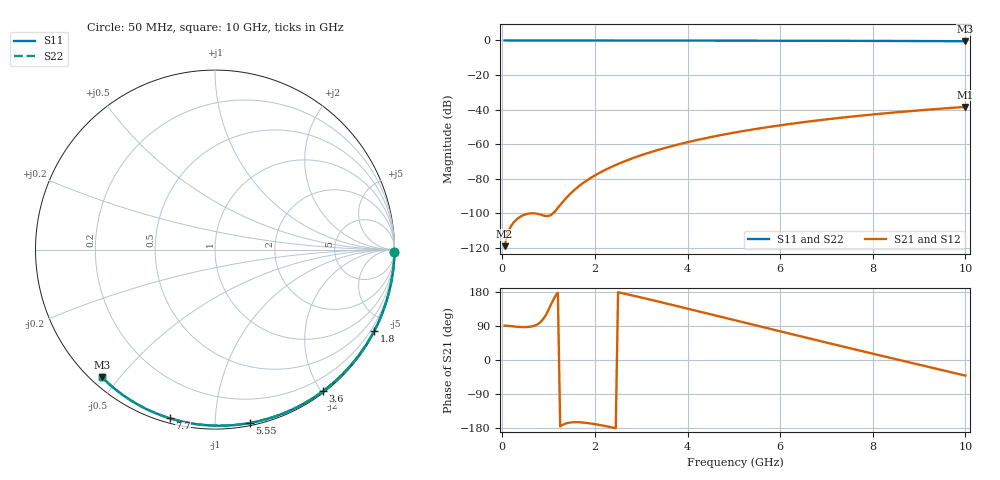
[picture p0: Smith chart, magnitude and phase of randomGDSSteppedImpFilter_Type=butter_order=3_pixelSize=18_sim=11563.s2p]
! freq	dB(S11)	phase(S11)	dB(S12)	phase(S12)
!  dB(S21)	phase(S21)	dB(S22)	phase(S22)
!S-par simulation data
#  GHz  S  DB  R 50
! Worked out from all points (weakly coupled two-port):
!   200 points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, 50 MHz to 10 GHz, reference 50 ohm
!   highest |S21| = -38.43 dB at 10 GHz (marker M1); lowest = -119.0 dB at 50 MHz (marker M2)
!   lowest |S11| = -0.4 dB at 10 GHz (marker M3), VSWR 38.98, Z = 1.54 - j22.5 ohm
!   |S11| at or under -10 dB: nowhere
!   |S22| runs from -0.4 to 0.0 dB; largest |S21 - S12| = 0
!   S11 on the Smith chart (normalised r, x): 50 MHz: open; 1.8 GHz: 0.04, -4.18; 3.6 GHz: 0.02, -2.02; 5.55 GHz: 0.02, -1.22; 7.7 GHz: 0.02, -0.77; 10 GHz: 0.03, -0.45
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0.05  -0.00 -0.8  -119.01 90.5  -119.01 90.5  -0.00 -0.8
0.9  -0.02 -13.6  -101.34 111.1  -101.34 111.1  -0.02 -13.6
1.75  -0.03 -26.2  -82.38 -165.1  -82.38 -165.1  -0.03 -26.2
1.8  -0.03 -26.9  -81.44 -165.7  -81.44 -165.7  -0.03 -26.9
1.85  -0.04 -27.7  -80.55 -166.5  -80.55 -166.5  -0.04 -27.7
1.9  -0.04 -28.4  -79.69 -167.3  -79.69 -167.3  -0.04 -28.4
2.05  -0.04 -30.6  -77.31 -170.3  -77.31 -170.3  -0.04 -30.6
2.25  -0.04 -33.5  -74.50 -174.9  -74.50 -174.9  -0.04 -33.5
2.45  -0.05 -36.4  -72.02 -179.9  -72.02 -179.9  -0.05 -36.4
2.65  -0.05 -39.3  -69.79 174.7  -69.79 174.7  -0.05 -39.3
3  -0.06 -44.3  -66.38 164.9  -66.38 164.9  -0.06 -44.2
3.4  -0.07 -49.9  -63.04 153.3  -63.04 153.3  -0.07 -49.9
3.6  -0.07 -52.7  -61.55 147.4  -61.55 147.4  -0.07 -52.7
4.3  -0.09 -62.2  -57.04 126.6  -57.04 126.6  -0.09 -62.2
5.05  -0.11 -72.2  -53.11 104.1  -53.11 104.1  -0.11 -72.2
5.55  -0.13 -78.7  -50.88 89.1  -50.88 89.1  -0.13 -78.7
6.1  -0.15 -85.6  -48.70 72.6  -48.70 72.6  -0.15 -85.6
6.7  -0.18 -93.0  -46.60 54.8  -46.60 54.8  -0.18 -93.0
7.7  -0.24 -105.0  -43.61 25.4  -43.61 25.4  -0.24 -105.0
8.35  -0.29 -112.6  -41.94 6.5  -41.94 6.5  -0.29 -112.6
9.15  -0.36 -121.8  -40.12 -16.7  -40.12 -16.7  -0.36 -121.8
10  -0.45 -131.4  -38.43 -41.3  -38.43 -41.3  -0.45 -131.4
